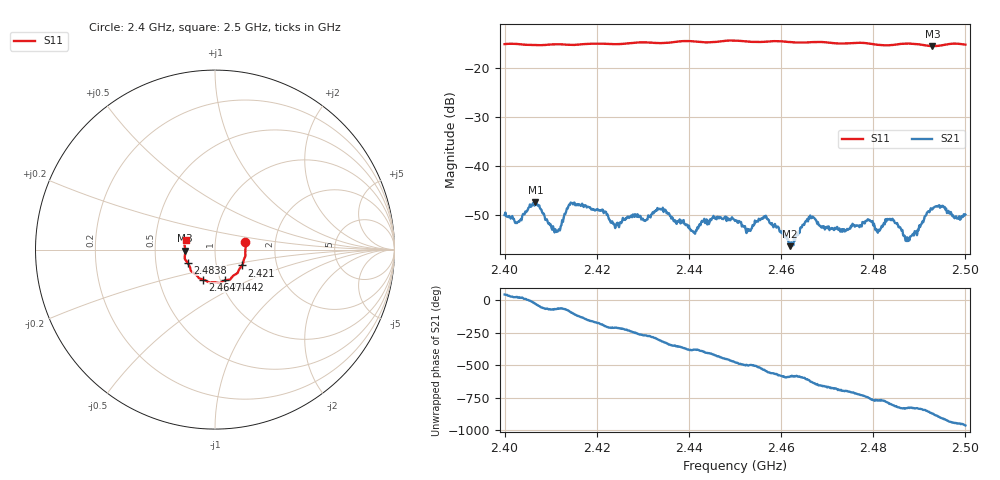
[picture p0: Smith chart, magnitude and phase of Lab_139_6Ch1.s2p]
# Hz S RI R 50
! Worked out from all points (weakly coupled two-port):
!   601 points, 2.4 GHz to 2.5 GHz, reference 50 ohm
!   highest |S21| = -47.30 dB at 2.4067 GHz (marker M1); lowest = -56.3 dB at 2.462 GHz (marker M2)
!   lowest |S11| = -15.6 dB at 2.4928 GHz (marker M3), VSWR 1.40, Z = 35.8 - j0.376 ohm
!   |S11| at or under -10 dB: start of sweep to end of sweep
!   S12 and S22 are empty: the file has one direction only
!   S11 on the Smith chart (normalised r, x): 2.4 GHz: 1.40, +0.12; 2.421 GHz: 1.33, -0.24; 2.4442 GHz: 1.05, -0.37; 2.4647 GHz: 0.83, -0.29; 2.4838 GHz: 0.73, -0.11; 2.5 GHz: 0.72, +0.08
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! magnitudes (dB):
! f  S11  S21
! 2.4 GHz  -15.2  -50.0
! 2.4028 GHz  -15.2  -51.4
! 2.4067 GHz  -15.4  -47.3
! 2.4112 GHz  -15.2  -53.4
! 2.4142 GHz  -15.4  -47.9
! 2.4167 GHz  -15.3  -47.9
! 2.421 GHz  -15.1  -49.0
! 2.4243 GHz  -15.2  -51.6
! 2.4333 GHz  -15.0  -48.8
! 2.4408 GHz  -14.6  -53.2
! 2.4442 GHz  -14.9  -51.1
! 2.45 GHz  -14.5  -51.1
! 2.4567 GHz  -14.7  -50.1
! 2.462 GHz  -14.8  -56.3
! 2.4647 GHz  -14.9  -51.9
! 2.4667 GHz  -14.8  -50.5
! 2.4733 GHz  -15.1  -53.3
! 2.4833 GHz  -15.5  -50.9
! 2.4838 GHz  -15.4  -51.0
! 2.4875 GHz  -15.1  -55.2
! 2.4928 GHz  -15.6  -48.8
! 2.5 GHz  -15.3  -49.8
